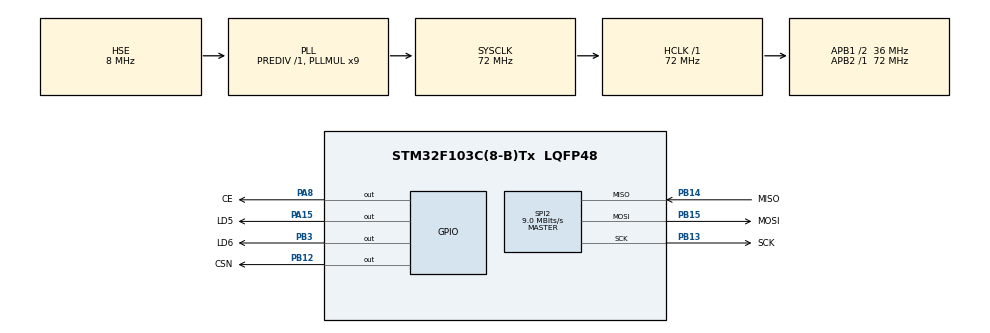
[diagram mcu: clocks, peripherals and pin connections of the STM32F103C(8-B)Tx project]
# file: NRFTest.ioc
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Mcu.Family=STM32F1
Mcu.Name=STM32F103C(8-B)Tx
Mcu.Package=LQFP48
NVIC.PriorityGroup=NVIC_PRIORITYGROUP_4
PA13.Mode=Serial_Wire
PA13.Signal=SYS_JTMS-SWDIO
PA14.Mode=Serial_Wire
PA14.Signal=SYS_JTCK-SWCLK
PA15.GPIO_Label=LD5
PA15.GPIO_Speed=GPIO_SPEED_FREQ_HIGH
PA15.Signal=GPIO_Output
PA8.GPIO_Label=CE
PA8.GPIO_Speed=GPIO_SPEED_FREQ_HIGH
PA8.Signal=GPIO_Output
PB12.GPIO_Label=CSN
PB12.GPIO_Speed=GPIO_SPEED_FREQ_HIGH
PB12.Signal=GPIO_Output
PB13.GPIO_Label=SCK
PB13.Mode=Full_Duplex_Master
PB13.Signal=SPI2_SCK
PB14.GPIO_Label=MISO
PB14.Mode=Full_Duplex_Master
PB14.Signal=SPI2_MISO
PB15.GPIO_Label=MOSI
PB15.Mode=Full_Duplex_Master
PB15.Signal=SPI2_MOSI
PB3.GPIO_Label=LD6
PB3.GPIO_Speed=GPIO_SPEED_FREQ_HIGH
PB3.Signal=GPIO_Output
PD0-OSC_IN.Mode=HSE-External-Oscillator
PD0-OSC_IN.Signal=RCC_OSC_IN
PD1-OSC_OUT.Mode=HSE-External-Oscillator
PD1-OSC_OUT.Signal=RCC_OSC_OUT
ProjectManager.HeapSize=0x200
ProjectManager.StackSize=0x400
ProjectManager.TargetToolchain=MDK-ARM V5
RCC.ADCPresc=RCC_ADCPCLK2_DIV6
RCC.AHBFreq_Value=72000000
RCC.APB1CLKDivider=RCC_HCLK_DIV2
RCC.APB1Freq_Value=36000000
RCC.APB1TimFreq_Value=72000000
RCC.APB2Freq_Value=72000000
RCC.APB2TimFreq_Value=72000000
RCC.HCLKFreq_Value=72000000
RCC.PLLMUL=RCC_PLL_MUL9
RCC.PLLSourceVirtual=RCC_PLLSOURCE_HSE
RCC.SYSCLKFreq_VALUE=72000000
RCC.SYSCLKSource=RCC_SYSCLKSOURCE_PLLCLK
RCC.USBFreq_Value=72000000
SPI2.BaudRatePrescaler=SPI_BAUDRATEPRESCALER_4
SPI2.CalculateBaudRate=9.0 MBits/s
SPI2.Direction=SPI_DIRECTION_2LINES
SPI2.Mode=SPI_MODE_MASTER
SPI2.VirtualType=VM_MASTER
board=custom

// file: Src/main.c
/* USER CODE BEGIN Header */
/**
  ******************************************************************************
  * @file           : main.c
  * @brief          : Main program body
  ******************************************************************************
  * @attention
  *
  * <h2><center>&copy; Copyright (c) 2020 STMicroelectronics.
  * All rights reserved.</center></h2>
  *
  * This software component is licensed by ST under BSD 3-Clause license,
  * the "License"; You may not use this file except in compliance with the
  * License. You may obtain a copy of the License at:
  *                        opensource.org/licenses/BSD-3-Clause
  *
  ******************************************************************************
  */
/* USER CODE END Header */

#include "main.h"
#include "spi.h"
#include "gpio.h"

/* USER CODE BEGIN Includes */
#include "..\..\bsp\nrf24.h"
#include "string.h"
/* USER CODE END Includes */

/* USER CODE BEGIN PD */
#undef TRANSMITTER
#undef RECEIVER
/* USER CODE END PD */

void SystemClock_Config(void);

/* USER CODE BEGIN 0 */
void init_receiver(void)
{
	uint8_t ADDR[] = { 'n', 'R', 'F', '2', '4' }; // the address for RX pipe
	nRF24_DisableAA(0xFF); // disable ShockBurst
	nRF24_SetRFChannel(90); // set RF channel to 2490MHz
	nRF24_SetDataRate(nRF24_DR_2Mbps); // 2Mbit/s data rate
	nRF24_SetCRCScheme(nRF24_CRC_1byte); // 1-byte CRC scheme
	nRF24_SetAddrWidth(5); // address width is 5 bytes
	nRF24_SetAddr(nRF24_PIPE1, ADDR); // program pipe address
	nRF24_SetRXPipe(nRF24_PIPE1, nRF24_AA_OFF, 10); // enable RX pipe#1 with Auto-ACK: disabled, payload length: 10 bytes
	nRF24_SetOperationalMode(nRF24_MODE_RX); // switch transceiver to the RX mode
	nRF24_SetPowerMode(nRF24_PWR_UP); // wake-up transceiver (in case if it sleeping)
}

void receive(void)
{
	uint8_t nRF24_payload[32]; // buffer for payload
	uint8_t payload_length; // variable to store a length of received payload
	uint8_t pipe; // pipe number
	nRF24_RX_ON(); // start receiving
	while (1)
	{
		// constantly poll the status of RX FIFO...
		if (nRF24_GetStatus_RXFIFO() != nRF24_STATUS_RXFIFO_EMPTY)
		{
			// the RX FIFO have some data, take a note what nRF24 can hold up to three payloads of 32 bytes...
			pipe = nRF24_ReadPayload(nRF24_payload, &payload_length); // read a payload to buffer
			nRF24_ClearIRQFlags(); // clear any pending IRQ bits
			if (pipe == nRF24_RX_PIPE1)
				if (!memcmp("HelloWorld", nRF24_payload, payload_length))
					HAL_GPIO_TogglePin(LD6_GPIO_Port, LD6_Pin);
		}
	}
}

void init_transmitter(void)
{
	uint8_t ADDR[] = { 'n', 'R', 'F', '2', '4' }; // the TX address
	nRF24_DisableAA(0xFF); // disable ShockBurst
	nRF24_SetRFChannel(90); // set RF channel to 2490MHz
	nRF24_SetDataRate(nRF24_DR_2Mbps); // 2Mbit/s data rate
	nRF24_SetCRCScheme(nRF24_CRC_1byte); // 1-byte CRC scheme
	nRF24_SetAddrWidth(5); // address width is 5 bytes
	nRF24_SetTXPower(nRF24_TXPWR_0dBm); // configure TX power
	nRF24_SetAddr(nRF24_PIPETX, ADDR); // program TX address
	nRF24_SetOperationalMode(nRF24_MODE_TX); // switch transceiver to the TX mode
	nRF24_SetPowerMode(nRF24_PWR_UP); // wake-up transceiver (in case if it sleeping)
}

void transmit(uint8_t *msg, uint8_t len)
{
	uint8_t status;
	nRF24_CE_L(); // deassert the CE pin (in case if it still high)
	nRF24_WritePayload(msg, len); // transfer payload data to transceiver
	nRF24_CE_H(); // assert CE pin (transmission starts)
	while (1)
	{
		status = nRF24_GetStatus();
		if (status & (nRF24_FLAG_TX_DS | nRF24_FLAG_MAX_RT))
			break; // transmission ended, exit loop
	}
	nRF24_CE_L(); // de-assert CE pin (nRF24 goes to StandBy-I mode)
	nRF24_ClearIRQFlags(); // clear any pending IRQ flags
	// Auto retransmit counter exceeds the programmed maximum limit (payload in FIFO is not removed)
	// Also the software can flush the TX FIFO here...
	if (status & nRF24_FLAG_MAX_RT)
		nRF24_FlushTX();
	// Successful transmission
	if (status & nRF24_FLAG_TX_DS)
		return;
}
/* USER CODE END 0 */

int main(void)
{

  /* MCU Configuration--------------------------------------------------------*/

  /* Reset of all peripherals, Initializes the Flash interface and the Systick. */
  HAL_Init();

  /* Configure the system clock */
  SystemClock_Config();

  /* Initialize all configured peripherals */
  MX_GPIO_Init();
  MX_SPI2_Init();
  /* USER CODE BEGIN 2 */
	nRF24_Init();
#if defined(TRANSMITTER)
  init_transmitter();
  uint8_t message[] = "HelloWorld";
#elif defined(RECEIVER)
	init_receiver();
  receive();
#endif
  /* USER CODE END 2 */

  /* Infinite loop */
  /* USER CODE BEGIN WHILE */
  while (1)
  {
#if defined(TRANSMITTER)
    transmit(message, sizeof(message));
    HAL_GPIO_TogglePin(LD5_GPIO_Port, LD5_Pin);
    HAL_Delay(500);
#elif defined(RECEIVER)
#else
		if(nRF24_Check())
		{
      HAL_GPIO_TogglePin(LD5_GPIO_Port, LD5_Pin);
      HAL_Delay(500);
		}
#endif
    /* USER CODE END WHILE */

  }
}

void SystemClock_Config(void)
{
  RCC_OscInitTypeDef RCC_OscInitStruct = {0};
  RCC_ClkInitTypeDef RCC_ClkInitStruct = {0};

  /** Initializes the CPU, AHB and APB busses clocks
  */
  RCC_OscInitStruct.OscillatorType = RCC_OSCILLATORTYPE_HSE;
  RCC_OscInitStruct.HSEState = RCC_HSE_ON;
  RCC_OscInitStruct.HSEPredivValue = RCC_HSE_PREDIV_DIV1;
  RCC_OscInitStruct.HSIState = RCC_HSI_ON;
  RCC_OscInitStruct.PLL.PLLState = RCC_PLL_ON;
  RCC_OscInitStruct.PLL.PLLSource = RCC_PLLSOURCE_HSE;
  RCC_OscInitStruct.PLL.PLLMUL = RCC_PLL_MUL9;
  if (HAL_RCC_OscConfig(&RCC_OscInitStruct) != HAL_OK)
  {
    Error_Handler();
  }
  /** Initializes the CPU, AHB and APB busses clocks
  */
  RCC_ClkInitStruct.ClockType = RCC_CLOCKTYPE_HCLK|RCC_CLOCKTYPE_SYSCLK
                              |RCC_CLOCKTYPE_PCLK1|RCC_CLOCKTYPE_PCLK2;
  RCC_ClkInitStruct.SYSCLKSource = RCC_SYSCLKSOURCE_PLLCLK;
  RCC_ClkInitStruct.AHBCLKDivider = RCC_SYSCLK_DIV1;
  RCC_ClkInitStruct.APB1CLKDivider = RCC_HCLK_DIV2;
  RCC_ClkInitStruct.APB2CLKDivider = RCC_HCLK_DIV1;

  if (HAL_RCC_ClockConfig(&RCC_ClkInitStruct, FLASH_LATENCY_2) != HAL_OK)
  {
    Error_Handler();
  }
}

void Error_Handler(void)
{
}

/************************ (C) COPYRIGHT STMicroelectronics *****END OF FILE****/
